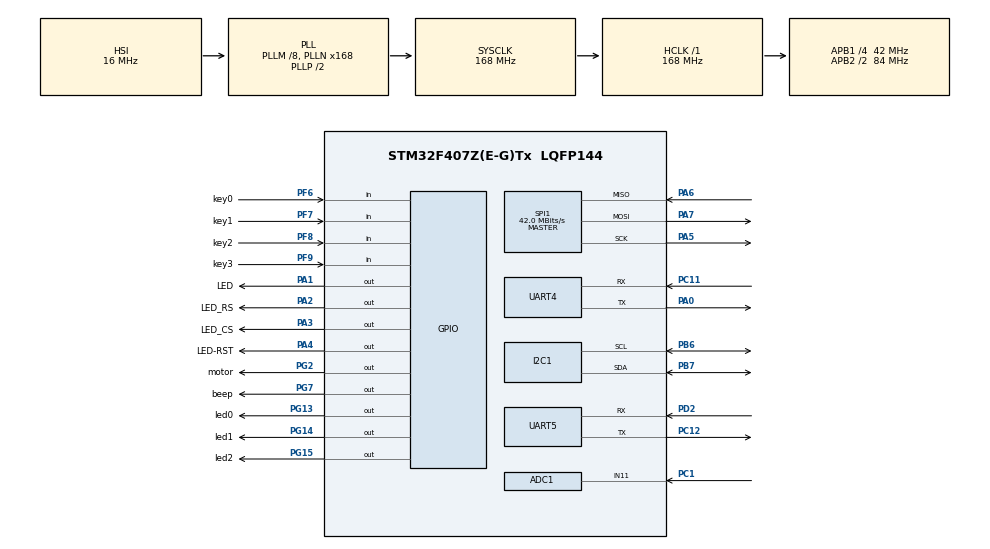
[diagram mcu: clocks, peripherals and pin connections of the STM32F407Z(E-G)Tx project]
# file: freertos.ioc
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ADC1.Channel-0\#ChannelRegularConversion=ADC_CHANNEL_11
ADC1.ClockPrescaler=ADC_CLOCK_SYNC_PCLK_DIV8
ADC1.ContinuousConvMode=DISABLE
ADC1.NbrOfConversionFlag=1
ADC1.Rank-0\#ChannelRegularConversion=1
ADC1.SamplingTime-0\#ChannelRegularConversion=ADC_SAMPLETIME_480CYCLES
ADC1.master=1
FREERTOS.Tasks01=defaultTask,24,128,StartDefaultTask,Default,NULL,Dynamic,NULL,NULL;myTask,8,512,StartTask02,As external,NULL,Dynamic,NULL,NULL
I2C1.OwnAddress=0x40
Mcu.Family=STM32F4
Mcu.Name=STM32F407Z(E-G)Tx
Mcu.Package=LQFP144
NVIC.PriorityGroup=NVIC_PRIORITYGROUP_4
NVIC.TIM2_IRQn=true\:6\:0\:true\:false\:true\:true\:true\:true\:true
NVIC.TIM8_TRG_COM_TIM14_IRQn=true\:15\:0\:false\:false\:true\:false\:false\:true\:true
NVIC.TimeBase=TIM8_TRG_COM_TIM14_IRQn
NVIC.TimeBaseIP=TIM14
NVIC.UART4_IRQn=true\:5\:0\:false\:false\:true\:true\:true\:true\:true
NVIC.UART5_IRQn=true\:5\:0\:false\:false\:true\:true\:true\:true\:true
PA0-WKUP.Mode=Multiprocessor_communication
PA0-WKUP.Signal=UART4_TX
PA1.GPIO_Label=LED
PA1.GPIO_PuPd=GPIO_PULLUP
PA1.GPIO_Speed=GPIO_SPEED_FREQ_MEDIUM
PA1.PinState=GPIO_PIN_SET
PA1.Signal=GPIO_Output
PA13.Mode=JTAG_5_pins
PA13.Signal=SYS_JTMS-SWDIO
PA14.Mode=JTAG_5_pins
PA14.Signal=SYS_JTCK-SWCLK
PA15.Mode=JTAG_5_pins
PA15.Signal=SYS_JTDI
PA2.GPIO_Label=LED_RS
PA2.GPIO_PuPd=GPIO_PULLUP
PA2.GPIO_Speed=GPIO_SPEED_FREQ_MEDIUM
PA2.PinState=GPIO_PIN_SET
PA2.Signal=GPIO_Output
PA3.GPIO_Label=LED_CS
PA3.GPIO_ModeDefaultOutputPP=GPIO_MODE_OUTPUT_PP
PA3.GPIO_PuPd=GPIO_PULLUP
PA3.GPIO_Speed=GPIO_SPEED_FREQ_MEDIUM
PA3.PinState=GPIO_PIN_RESET
PA3.Signal=GPIO_Output
PA4.GPIO_Label=LED-RST
PA4.GPIO_PuPd=GPIO_PULLUP
PA4.GPIO_Speed=GPIO_SPEED_FREQ_MEDIUM
PA4.Signal=GPIO_Output
PA5.Mode=Full_Duplex_Master
PA5.Signal=SPI1_SCK
PA6.Mode=Full_Duplex_Master
PA6.Signal=SPI1_MISO
PA7.Mode=Full_Duplex_Master
PA7.Signal=SPI1_MOSI
PB3.Mode=JTAG_5_pins
PB3.Signal=SYS_JTDO-SWO
PB4.Mode=JTAG_5_pins
PB4.Signal=SYS_JTRST
PB6.Mode=I2C
PB6.Signal=I2C1_SCL
PB7.Mode=I2C
PB7.Signal=I2C1_SDA
PC1.Signal=ADCx_IN11
PC11.Mode=Multiprocessor_communication
PC11.Signal=UART4_RX
PC12.Mode=Multiprocessor_communication
PC12.Signal=UART5_TX
PD2.Mode=Multiprocessor_communication
PD2.Signal=UART5_RX
PF6.GPIO_Label=key0
PF6.GPIO_PuPd=GPIO_PULLUP
PF6.Signal=GPIO_Input
PF7.GPIO_Label=key1
PF7.GPIO_PuPd=GPIO_PULLUP
PF7.Signal=GPIO_Input
PF8.GPIO_Label=key2
PF8.GPIO_PuPd=GPIO_PULLUP
PF8.Signal=GPIO_Input
PF9.GPIO_Label=key3
PF9.GPIO_PuPd=GPIO_PULLUP
PF9.Signal=GPIO_Input
PG13.GPIO_Label=led0
PG13.GPIO_PuPd=GPIO_PULLDOWN
PG13.GPIO_Speed=GPIO_SPEED_FREQ_MEDIUM
PG13.Signal=GPIO_Output
PG14.GPIO_Label=led1
PG14.GPIO_PuPd=GPIO_PULLUP
PG14.GPIO_Speed=GPIO_SPEED_FREQ_MEDIUM
PG14.Signal=GPIO_Output
PG15.GPIO_Label=led2
PG15.GPIO_PuPd=GPIO_PULLUP
PG15.GPIO_Speed=GPIO_SPEED_FREQ_MEDIUM
PG15.Signal=GPIO_Output
PG2.GPIO_Label=motor
PG2.GPIO_PuPd=GPIO_PULLDOWN
PG2.GPIO_Speed=GPIO_SPEED_FREQ_MEDIUM
PG2.Signal=GPIO_Output
PG7.GPIO_Label=beep
PG7.GPIO_PuPd=GPIO_PULLDOWN
PG7.GPIO_Speed=GPIO_SPEED_FREQ_MEDIUM
PG7.PinState=GPIO_PIN_SET
PG7.Signal=GPIO_Output
PH0-OSC_IN.Mode=HSE-External-Oscillator
PH0-OSC_IN.Signal=RCC_OSC_IN
PH1-OSC_OUT.Mode=HSE-External-Oscillator
PH1-OSC_OUT.Signal=RCC_OSC_OUT
ProjectManager.HeapSize=0x200
ProjectManager.StackSize=0x400
ProjectManager.TargetToolchain=MDK-ARM V5.32
RCC.48MHZClocksFreq_Value=84000000
RCC.AHBFreq_Value=168000000
RCC.APB1CLKDivider=RCC_HCLK_DIV4
RCC.APB1Freq_Value=42000000
RCC.APB1TimFreq_Value=84000000
RCC.APB2CLKDivider=RCC_HCLK_DIV2
RCC.APB2Freq_Value=84000000
RCC.APB2TimFreq_Value=168000000
RCC.CortexFreq_Value=168000000
RCC.HCLKFreq_Value=168000000
RCC.HSE_VALUE=8000000
RCC.HSI_VALUE=16000000
RCC.LSE_VALUE=32768
RCC.PLLM=8
RCC.PLLN=168
RCC.SYSCLKFreq_VALUE=168000000
RCC.SYSCLKSource=RCC_SYSCLKSOURCE_PLLCLK
RCC.VCOOutputFreq_Value=336000000
RTC.Date=24
RTC.Format=RTC_FORMAT_BIN
RTC.Hours=12
RTC.Minutes=0
RTC.Month=RTC_MONTH_MARCH
RTC.Seconds=0
RTC.WeekDay=RTC_WEEKDAY_FRIDAY
RTC.Year=23
SH.ADCx_IN11.0=ADC1_IN11,IN11
SPI1.CalculateBaudRate=42.0 MBits/s
SPI1.Direction=SPI_DIRECTION_2LINES
SPI1.Mode=SPI_MODE_MASTER
SPI1.VirtualType=VM_MASTER
TIM2.AutoReloadPreload=TIM_AUTORELOAD_PRELOAD_ENABLE
TIM2.Period=999
TIM2.Prescaler=41
UART4.VirtualMode=Asynchronous
UART5.VirtualMode=Asynchronous
VP_FREERTOS_VS_CMSIS_V2.Mode=CMSIS_V2
VP_RTC_VS_RTC_Activate.Mode=RTC_Enabled
VP_RTC_VS_RTC_Calendar.Mode=RTC_Calendar
VP_SYS_VS_tim14.Mode=TIM14
VP_TIM2_VS_ClockSourceINT.Mode=Internal
board=custom

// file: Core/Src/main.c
/* USER CODE BEGIN Header */
/**
  ******************************************************************************
  * @file           : main.c
  * @brief          : Main program body
  ******************************************************************************
  * @attention
  *
  * Copyright (c) 2023 STMicroelectronics.
  * All rights reserved.
  *
  * This software is licensed under terms that can be found in the LICENSE file
  * in the root directory of this software component.
  * If no LICENSE file comes with this software, it is provided AS-IS.
  *
  ******************************************************************************
  */
/* USER CODE END Header */
#include "main.h"
#include "cmsis_os.h"
#include "adc.h"
#include "i2c.h"
#include "rtc.h"
#include "spi.h"
#include "tim.h"
#include "usart.h"
#include "gpio.h"

/* USER CODE BEGIN Includes */
#include "appTask.h"
#include "GUI.h"
#include "test.h"
#include "lcd.h"
#include "EventRecorder.h"
#include "apphumitmp.h"
#include "appheart.h"
#include "appstep.h"
/* USER CODE END Includes */

void SystemClock_Config(void);
void MX_FREERTOS_Init(void);

int main(void)
{

  /* MCU Configuration--------------------------------------------------------*/

  /* Reset of all peripherals, Initializes the Flash interface and the Systick. */
  HAL_Init();

  /* Configure the system clock */
  SystemClock_Config();

  /* Initialize all configured peripherals */
  MX_GPIO_Init();
  MX_TIM2_Init();
  MX_SPI1_Init();
  MX_I2C1_Init();
  MX_ADC1_Init();
  MX_UART4_Init();
  MX_RTC_Init();
  MX_UART5_Init();
  /* USER CODE BEGIN 2 */
	EventRecorderInitialize(EventRecordAll,1U);
	EventRecorderStart();
	LCD_Init();
	HAL_GPIO_WritePin(beep_GPIO_Port,beep_Pin,GPIO_PIN_RESET);
	uint8_t KeyValue;
	LCD_ShowNum(0, 0, KeyValue, 5, 16);
	key_init();
	//appStartTask();
  /* USER CODE END 2 */

  /* Init scheduler */
  //osKernelInitialize();  /* Call init function for freertos objects (in freertos.c) */
  //MX_FREERTOS_Init();

  /* Start scheduler */
  //osKernelStart();

  /* We should never get here as control is now taken by the scheduler */
  /* Infinite loop */
  while (1)
  {
		KeyValue = KeyScan();
		printf("%d",KeyValue + 1);
		LCD_ShowNum(0, 0, KeyValue, 5, 16);
		HAL_Delay(500);
  }
}

void SystemClock_Config(void)
{
  RCC_OscInitTypeDef RCC_OscInitStruct = {0};
  RCC_ClkInitTypeDef RCC_ClkInitStruct = {0};

  /** Configure the main internal regulator output voltage
  */
  __HAL_RCC_PWR_CLK_ENABLE();
  __HAL_PWR_VOLTAGESCALING_CONFIG(PWR_REGULATOR_VOLTAGE_SCALE1);

  /** Initializes the RCC Oscillators according to the specified parameters
  * in the RCC_OscInitTypeDef structure.
  */
  RCC_OscInitStruct.OscillatorType = RCC_OSCILLATORTYPE_HSI|RCC_OSCILLATORTYPE_LSI;
  RCC_OscInitStruct.HSIState = RCC_HSI_ON;
  RCC_OscInitStruct.HSICalibrationValue = RCC_HSICALIBRATION_DEFAULT;
  RCC_OscInitStruct.LSIState = RCC_LSI_ON;
  RCC_OscInitStruct.PLL.PLLState = RCC_PLL_ON;
  RCC_OscInitStruct.PLL.PLLSource = RCC_PLLSOURCE_HSI;
  RCC_OscInitStruct.PLL.PLLM = 8;
  RCC_OscInitStruct.PLL.PLLN = 168;
  RCC_OscInitStruct.PLL.PLLP = RCC_PLLP_DIV2;
  RCC_OscInitStruct.PLL.PLLQ = 4;
  if (HAL_RCC_OscConfig(&RCC_OscInitStruct) != HAL_OK)
  {
    Error_Handler();
  }

  /** Initializes the CPU, AHB and APB buses clocks
  */
  RCC_ClkInitStruct.ClockType = RCC_CLOCKTYPE_HCLK|RCC_CLOCKTYPE_SYSCLK
                              |RCC_CLOCKTYPE_PCLK1|RCC_CLOCKTYPE_PCLK2;
  RCC_ClkInitStruct.SYSCLKSource = RCC_SYSCLKSOURCE_PLLCLK;
  RCC_ClkInitStruct.AHBCLKDivider = RCC_SYSCLK_DIV1;
  RCC_ClkInitStruct.APB1CLKDivider = RCC_HCLK_DIV4;
  RCC_ClkInitStruct.APB2CLKDivider = RCC_HCLK_DIV2;

  if (HAL_RCC_ClockConfig(&RCC_ClkInitStruct, FLASH_LATENCY_5) != HAL_OK)
  {
    Error_Handler();
  }
}

void HAL_TIM_PeriodElapsedCallback(TIM_HandleTypeDef *htim)
{
  if (htim->Instance == TIM14) {
    HAL_IncTick();
  }
  /* USER CODE BEGIN Callback 1 */
	extern TaskHandle_t led1TaskHandle;         /*事件标志位句柄*/
	BaseType_t xHighPrioriyTaskWoken = pdFALSE;       /*退出中断后是否进行任务切换*/

	if(htim->Instance == TIM2){
		xTaskNotifyFromISR(led1TaskHandle, 0x04, eSetBits, &xHighPrioriyTaskWoken);
		portYIELD_FROM_ISR(xHighPrioriyTaskWoken);
		HAL_TIM_Base_Stop(&htim2);
	}

  /* USER CODE END Callback 1 */
}

void Error_Handler(void)
{
  /* USER CODE BEGIN Error_Handler_Debug */
  /* User can add his own implementation to report the HAL error return state */
	printf("erro!\n");
	LCD_ShowString(0,0,16,"erro!",1);
  __disable_irq();
  while (1)
  {
  }
  /* USER CODE END Error_Handler_Debug */
}
